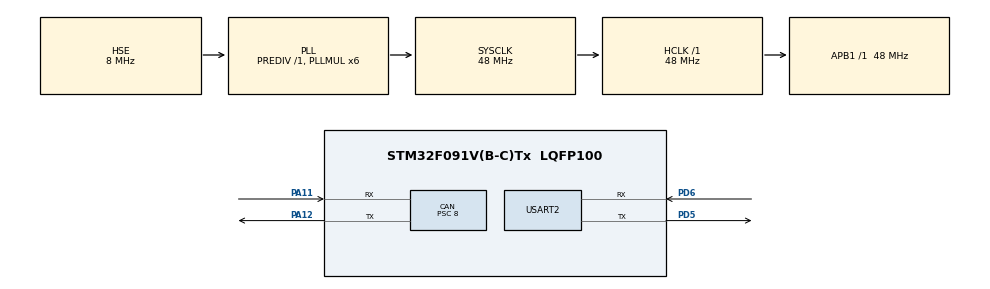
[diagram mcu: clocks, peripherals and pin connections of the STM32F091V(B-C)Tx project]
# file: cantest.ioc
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CAN.BS1=CAN_BS1_6TQ
CAN.BS2=CAN_BS2_5TQ
CAN.CalculateTimeQuantum=166.66666666666666
CAN.Mode=CAN_MODE_LOOPBACK
CAN.Prescaler=8
Mcu.Family=STM32F0
Mcu.Name=STM32F091V(B-C)Tx
Mcu.Package=LQFP100
NVIC.CEC_CAN_IRQn=true\:0\:0\:false\:false\:true\:true\:true
NVIC.USART2_IRQn=true\:0\:0\:false\:false\:true\:true\:true
PA11.Mode=Master
PA11.Signal=CAN_RX
PA12.Mode=Master
PA12.Signal=CAN_TX
PD5.Mode=Asynchronous
PD5.Signal=USART2_TX
PD6.Mode=Asynchronous
PD6.Signal=USART2_RX
PF0-OSC_IN.Mode=HSE-External-Oscillator
PF0-OSC_IN.Signal=RCC_OSC_IN
PF1-OSC_OUT.Mode=HSE-External-Oscillator
PF1-OSC_OUT.Signal=RCC_OSC_OUT
ProjectManager.HeapSize=0x200
ProjectManager.StackSize=0x400
ProjectManager.TargetToolchain=MDK-ARM V5.27
RCC.AHBFreq_Value=48000000
RCC.APB1Freq_Value=48000000
RCC.APB1TimFreq_Value=48000000
RCC.HCLKFreq_Value=48000000
RCC.PLLMUL=RCC_PLL_MUL6
RCC.PLLSourceVirtual=RCC_PLLSOURCE_HSE
RCC.SYSCLKFreq_VALUE=48000000
RCC.SYSCLKSource=RCC_SYSCLKSOURCE_PLLCLK
USART2.VirtualMode-Asynchronous=VM_ASYNC
board=custom

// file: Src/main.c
/* USER CODE BEGIN Header */
/**
  ******************************************************************************
  * @file           : main.c
  * @brief          : Main program body
  ******************************************************************************
  * @attention
  *
  * <h2><center>&copy; Copyright (c) 2019 STMicroelectronics.
  * All rights reserved.</center></h2>
  *
  * This software component is licensed by ST under BSD 3-Clause license,
  * the "License"; You may not use this file except in compliance with the
  * License. You may obtain a copy of the License at:
  *                        opensource.org/licenses/BSD-3-Clause
  *
  ******************************************************************************
  */
/* USER CODE END Header */

#include "main.h"
#include "can.h"
#include "usart.h"
#include "gpio.h"

/* USER CODE BEGIN Includes */
#include "stdio.h"
/* USER CODE END Includes */

/* USER CODE BEGIN PV */
CAN_FilterTypeDef         sFilterConfig;
static CAN_TxHeaderTypeDef        TxMessageHeader;
static CAN_RxHeaderTypeDef        RxMessageHeader;
/* USER CODE END PV */

void SystemClock_Config(void);

int main(void)
{

  /* MCU Configuration--------------------------------------------------------*/

  /* Reset of all peripherals, Initializes the Flash interface and the Systick. */
  HAL_Init();

  /* Configure the system clock */
  SystemClock_Config();

  /* Initialize all configured peripherals */
  MX_GPIO_Init();
  MX_CAN_Init();
  MX_USART2_UART_Init();
  /* USER CODE BEGIN 2 */

  printf("**** This is CAN test program ****\r\n\r\n");

  /*##-1- Configure CAN2 Transmission Massage #####################################*/
  TxMessageHeader.StdId = 0x123;
  TxMessageHeader.RTR = CAN_RTR_DATA;
  TxMessageHeader.IDE = CAN_ID_STD;
  TxMessageHeader.DLC = 8;

  RxMessageHeader.StdId = 0x123;
  RxMessageHeader.RTR = CAN_RTR_DATA;
  RxMessageHeader.IDE = CAN_ID_STD;
  RxMessageHeader.DLC = 8;

  uint32_t TxMailbox = 0xFF;/*��¼��������*/
  uint8_t  TxMsg[]={'C','A','N',' ','T','E','S','T'};
  uint8_t  RxMsg[]={0};

  /*##-2- Configure the CAN1 Filter ###########################################*/
  sFilterConfig.FilterBank = 0;/*filter number*/
  sFilterConfig.FilterMode = CAN_FILTERMODE_IDMASK;
  sFilterConfig.FilterScale = CAN_FILTERSCALE_32BIT;
  sFilterConfig.FilterIdHigh = 0x0000;
  sFilterConfig.FilterIdLow = 0x0000;
  sFilterConfig.FilterMaskIdHigh = 0x0000;
  sFilterConfig.FilterMaskIdLow = 0x0000;
  sFilterConfig.FilterFIFOAssignment = 0;/*fifi0*/
  sFilterConfig.FilterActivation = ENABLE;
  HAL_CAN_ConfigFilter(&hcan, &sFilterConfig);
  /* USER CODE END 2 */

  /* Infinite loop */
  while (1)
  {

    /* USER CODE BEGIN 3 */
	  /*Send the data to mailbox*/
      HAL_CAN_AddTxMessage(&hcan,&TxMessageHeader,TxMsg,&TxMailbox);
	  /*�°����*/
	  if(HAL_CAN_GetRxMessage(&hcan,CAN_RX_FIFO0,&RxMessageHeader,RxMsg)!= HAL_OK)
	  {
          /* Reception Error */
          Error_Handler();
	  }

      if(HAL_CAN_GetState(&hcan) != HAL_CAN_STATE_READY)
      {
          Error_Handler();
      }
      printf("StdId : %x\r\n",hcan.Instance->sFIFOMailBox[CAN_RX_FIFO0].RIR);
      printf("RxMsg : %s",RxMsg);
      printf("\r\n\r\n");

      HAL_Delay(1000);
  }
  /* USER CODE END 3 */
}

void SystemClock_Config(void)
{
  RCC_OscInitTypeDef RCC_OscInitStruct = {0};
  RCC_ClkInitTypeDef RCC_ClkInitStruct = {0};
  RCC_PeriphCLKInitTypeDef PeriphClkInit = {0};

  /** Initializes the CPU, AHB and APB busses clocks
  */
//  RCC_OscInitStruct.OscillatorType = RCC_OSCILLATORTYPE_HSI;
//  RCC_OscInitStruct.HSIState = RCC_HSI_ON;
//  RCC_OscInitStruct.HSICalibrationValue = RCC_HSICALIBRATION_DEFAULT;
//  RCC_OscInitStruct.PLL.PLLState = RCC_PLL_NONE;
  RCC_OscInitStruct.OscillatorType = RCC_OSCILLATORTYPE_HSE;
  RCC_OscInitStruct.HSEState = RCC_HSE_ON;
  RCC_OscInitStruct.PLL.PLLState = RCC_PLL_ON;
  RCC_OscInitStruct.PLL.PLLSource = RCC_PLLSOURCE_HSE;
  RCC_OscInitStruct.PLL.PLLMUL = RCC_PLL_MUL6;
  RCC_OscInitStruct.PLL.PREDIV = RCC_PREDIV_DIV1;
  if (HAL_RCC_OscConfig(&RCC_OscInitStruct) != HAL_OK)
  {
    Error_Handler();
  }
  /** Initializes the CPU, AHB and APB busses clocks
  */
  RCC_ClkInitStruct.ClockType = RCC_CLOCKTYPE_HCLK|RCC_CLOCKTYPE_SYSCLK
                              |RCC_CLOCKTYPE_PCLK1;
  RCC_ClkInitStruct.SYSCLKSource = RCC_SYSCLKSOURCE_PLLCLK;
  RCC_ClkInitStruct.AHBCLKDivider = RCC_SYSCLK_DIV1;
  RCC_ClkInitStruct.APB1CLKDivider = RCC_HCLK_DIV1;

  if (HAL_RCC_ClockConfig(&RCC_ClkInitStruct, FLASH_LATENCY_1) != HAL_OK)
  {
    Error_Handler();
  }
  PeriphClkInit.PeriphClockSelection = RCC_PERIPHCLK_USART2;
  PeriphClkInit.Usart2ClockSelection = RCC_USART2CLKSOURCE_PCLK1;
  if (HAL_RCCEx_PeriphCLKConfig(&PeriphClkInit) != HAL_OK)
  {
    Error_Handler();
  }
}

void Error_Handler(void)
{
}

/************************ (C) COPYRIGHT STMicroelectronics *****END OF FILE****/
